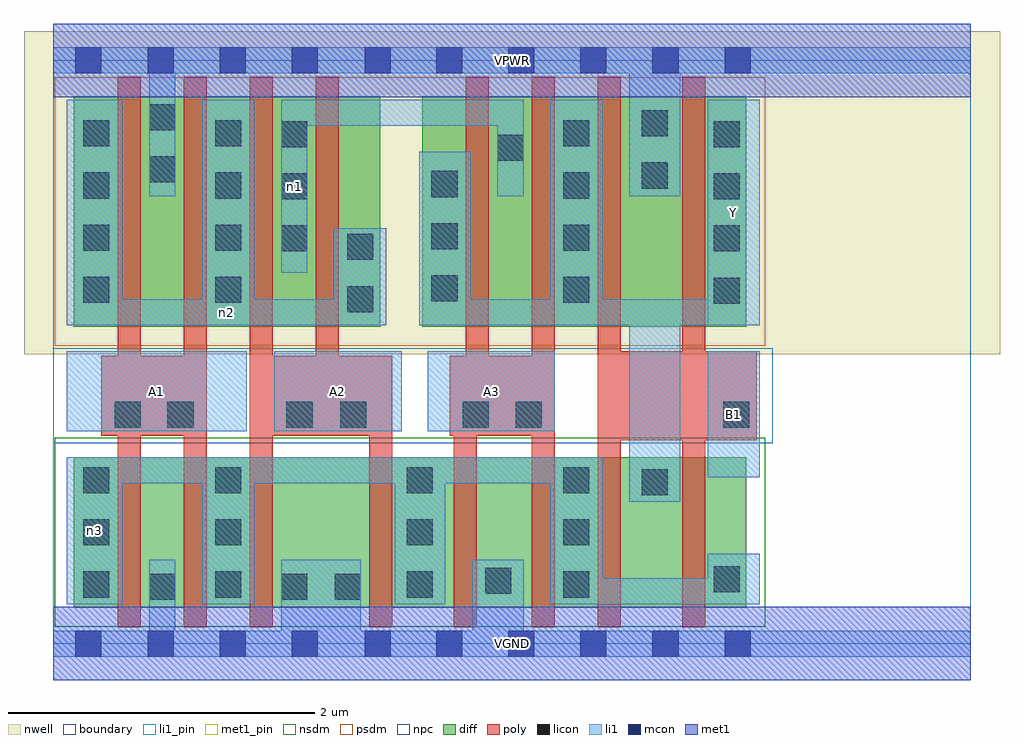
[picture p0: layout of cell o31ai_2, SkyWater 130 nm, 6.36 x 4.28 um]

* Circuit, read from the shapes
.subckt o31ai_2 A1 A2 A3 B1 VGND VPWR Y n1 n2 n3
XM1 VGND A1 n3 VSUBS sky130_fd_pr__nfet_01v8 w=0.98 l=0.15 m=2
XM2 VGND A2 n3 VSUBS sky130_fd_pr__nfet_01v8 w=0.98 l=0.15 m=2
XM3 VGND A3 n3 VSUBS sky130_fd_pr__nfet_01v8 w=0.98 l=0.15 m=2
XM4 Y B1 n3 VSUBS sky130_fd_pr__nfet_01v8 w=0.98 l=0.15 m=2
XM5 VPWR A1 n2 n4 sky130_fd_pr__pfet_01v8 w=1.5 l=0.15 m=2
XM6 n1 A2 n2 n4 sky130_fd_pr__pfet_01v8 w=1.5 l=0.15 m=2
XM7 n1 A3 Y n4 sky130_fd_pr__pfet_01v8 w=1.5 l=0.15 m=2
XM8 VPWR B1 Y n4 sky130_fd_pr__pfet_01v8 w=1.5 l=0.15 m=2
.ends

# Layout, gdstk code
import gdstk
lib = gdstk.Library(unit=1e-6, precision=1e-09)
def R(c, l, rs):  # rectangles x0, y0, x1, y1
    for r in rs: c.add(gdstk.rectangle(r[:2], r[2:], *l))
def A(c, l, x, y, w, h, nx, ny, dx, dy):  # array of equal rectangles
    R(c, l, [(x+i*dx, y+j*dy, x+i*dx+w, y+j*dy+h) for i in range(nx) for j in range(ny)])
nwell = (64, 20)
diff = (65, 20)
poly = (66, 20)
licon = (66, 44)
li1_pin = (67, 16)
li1 = (67, 20)
mcon = (67, 44)
met1_pin = (68, 16)
met1 = (68, 20)
nsdm = (93, 44)
psdm = (94, 20)
npc = (95, 20)
boundary = (235, 4)

o31ai_2 = lib.new_cell('o31ai_2')
R(o31ai_2, nwell, [(-0.19,1.885,6.17,3.99), (0,1.885,5.98,3.99)])
R(o31ai_2, diff, [(0.135,0.235,4.515,1.215), (0.135,2.065,2.13,3.565), (2.405,2.065,4.515,3.565)])
A(o31ai_2, poly, 0.42, 0.105, 0.15, 3.59, 3, 1, 0.43, 0)
R(o31ai_2, poly, [(2.06,0.105,2.21,1.875), (2.61,0.105,2.76,1.875), (3.12,0.105,3.27,3.695), (3.55,0.105,3.7,3.695), (4.1,0.105,4.25,3.695), (3.55,1.325,4.585,1.905), (0.315,1.355,1,1.875), (1.28,1.355,2.21,1.875), (1.71,1.355,1.86,3.695), (2.585,1.355,3.27,1.875), (2.69,1.355,2.84,3.695)])
A(o31ai_2, licon, 0.195, 0.3, 0.17, 0.17, 1, 3, 0, 0.34)
A(o31ai_2, licon, 1.055, 0.3, 0.17, 0.17, 1, 3, 0, 0.34)
A(o31ai_2, licon, 2.305, 0.3, 0.17, 0.17, 1, 3, 0, 0.34)
A(o31ai_2, licon, 3.325, 0.3, 0.17, 0.17, 1, 3, 0, 0.34)
A(o31ai_2, licon, 4.305, 2.215, 0.17, 0.17, 1, 4, 0, 0.34)
A(o31ai_2, licon, 0.195, 2.22, 0.17, 0.17, 1, 4, 0, 0.34)
A(o31ai_2, licon, 1.055, 2.22, 0.17, 0.17, 1, 4, 0, 0.34)
A(o31ai_2, licon, 3.325, 2.22, 0.17, 0.17, 1, 4, 0, 0.34)
A(o31ai_2, licon, 2.465, 2.23, 0.17, 0.17, 1, 3, 0, 0.34)
A(o31ai_2, licon, 1.485, 2.555, 0.17, 0.17, 1, 3, 0, 0.34)
R(o31ai_2, licon, [(0.625,0.285,0.795,0.455), (1.485,0.285,1.655,0.455), (1.835,0.285,2.005,0.455), (2.815,0.325,2.985,0.495), (4.305,0.335,4.475,0.505), (3.835,0.965,4.005,1.135), (0.4,1.405,0.57,1.575), (0.745,1.405,0.915,1.575), (1.52,1.405,1.69,1.575), (1.87,1.405,2.04,1.575), (2.67,1.405,2.84,1.575), (3.015,1.405,3.185,1.575), (4.365,1.405,4.535,1.575), (1.915,2.16,2.085,2.33), (1.915,2.5,2.085,2.67), (3.835,2.965,4.005,3.135), (0.625,3.005,0.795,3.175), (2.895,3.145,3.065,3.315), (3.835,3.305,4.005,3.475), (0.625,3.345,0.795,3.515)])
R(o31ai_2, li1_pin, [(4.265,1.085,4.605,1.905), (0.09,1.385,1.26,1.905), (1.44,1.385,2.27,1.905), (2.44,1.385,3.27,1.905), (4.265,2.075,4.605,3.545)])
R(o31ai_2, li1, [(0,-0.085,5.98,0.085), (0.625,-0.085,0.795,0.545), (1.485,-0.085,2.005,0.545), (2.73,-0.085,3.065,0.545), (0.09,0.255,0.45,1.215), (0.97,0.255,1.31,1.215), (2.225,0.255,2.555,1.215), (3.24,0.255,3.58,1.215), (3.24,0.255,4.605,0.425), (4.265,0.255,4.605,0.585), (3.755,0.925,4.085,2.245), (0.09,1.045,3.58,1.215), (4.265,1.085,4.605,1.905), (0.09,1.385,1.26,1.905), (1.44,1.385,2.27,1.905), (2.44,1.385,3.27,1.905), (0.09,2.075,2.17,2.245), (0.09,2.075,0.45,3.545), (0.97,2.075,1.31,3.545), (1.83,2.075,2.17,2.705), (2.385,2.075,4.605,2.245), (2.385,2.075,2.72,3.205), (3.24,2.075,3.58,3.545), (4.265,2.075,4.605,3.545), (1.485,2.415,1.655,3.545), (0.625,2.915,0.795,3.885), (2.895,2.915,3.065,3.545), (3.755,2.915,4.085,3.885), (1.485,3.375,3.065,3.545), (0,3.715,5.98,3.885)])
A(o31ai_2, mcon, 0.145, -0.085, 0.17, 0.17, 4, 2, 0.47, 3.8)
A(o31ai_2, mcon, 2.495, -0.085, 0.17, 0.17, 5, 2, 0.47, 3.8)
R(o31ai_2, mcon, [(2.03,-0.085,2.2,0.085), (2.03,3.715,2.2,3.885)])
R(o31ai_2, met1_pin, [(0,-0.24,5.98,0.24), (0,3.56,5.98,4.04)])
R(o31ai_2, met1, [(0,-0.24,5.98,0.24), (0,3.56,5.98,4.04)])
R(o31ai_2, nsdm, [(0.01,0.11,4.64,1.34)])
R(o31ai_2, psdm, [(0.01,1.94,4.64,3.69)])
R(o31ai_2, npc, [(0,1.305,4.69,1.925)])
R(o31ai_2, boundary, [(0,0,5.98,3.8)])
o31ai_2.add(gdstk.Label('A1', (0.675,1.645), layer=67, texttype=5))
o31ai_2.add(gdstk.Label('A2', (1.855,1.645), layer=67, texttype=5))
o31ai_2.add(gdstk.Label('A3', (2.855,1.645), layer=67, texttype=5))
o31ai_2.add(gdstk.Label('B1', (4.435,1.495), layer=67, texttype=5))
o31ai_2.add(gdstk.Label('Y', (4.435,2.81), layer=67, texttype=5))
o31ai_2.add(gdstk.Label('n3', (0.27,0.735), layer=67, texttype=5))
o31ai_2.add(gdstk.Label('n2', (1.13,2.16), layer=67, texttype=5))
o31ai_2.add(gdstk.Label('n1', (1.57,2.98), layer=67, texttype=5))
o31ai_2.add(gdstk.Label('VPWR', (2.99,3.8), layer=68, texttype=5))
o31ai_2.add(gdstk.Label('VGND', (2.99,0), layer=68, texttype=5))
o31ai_2.add(gdstk.Label('A1', (0.675,1.645), layer=67, texttype=16))
o31ai_2.add(gdstk.Label('A2', (1.855,1.645), layer=67, texttype=16))
o31ai_2.add(gdstk.Label('A3', (2.855,1.645), layer=67, texttype=16))
o31ai_2.add(gdstk.Label('B1', (4.435,1.495), layer=67, texttype=16))
o31ai_2.add(gdstk.Label('Y', (4.435,2.81), layer=67, texttype=16))
o31ai_2.add(gdstk.Label('VPWR', (2.99,3.8), layer=68, texttype=16))
o31ai_2.add(gdstk.Label('VGND', (2.99,0), layer=68, texttype=16))

lib.write_gds('o31ai_2.gds')
